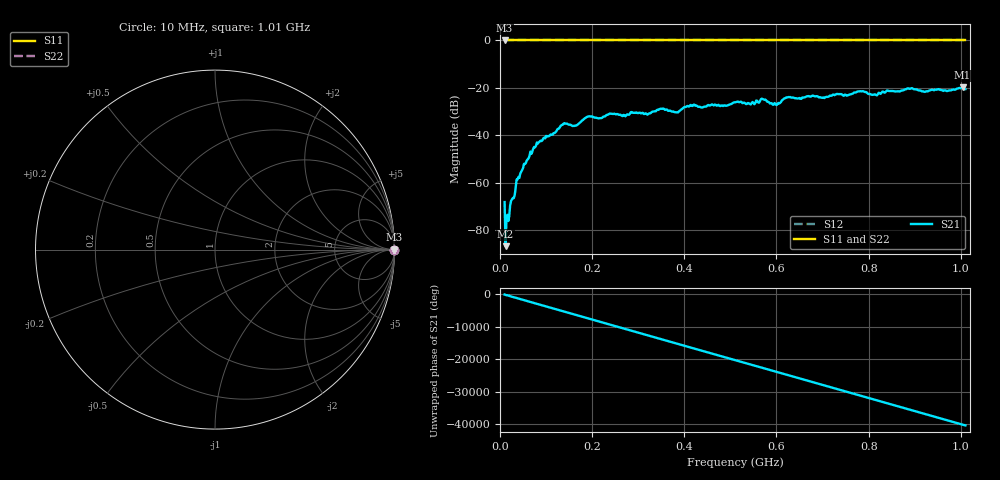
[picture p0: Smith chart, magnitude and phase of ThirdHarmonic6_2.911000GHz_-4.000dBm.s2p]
! 8/17/2025 8:04:17 AM
! C:\ANRITSUVNA\TEMP\TEMP.S2P
! CHANNEL.1
! TR.MEASUREMENT
! RAW.DATA
! RF.CORRECTION.OFF
! AVERAGING.OFF
! IF.BANDWIDTH: 5KHZ
! SWEEPTYPE:  FREQ.SWEEP(Linear)
! Reference Plane Port Info
! PORT:  PORT1  PORT2
! DISTANCE:  0  m  0  m
! TIME:  0  s  0  s
! PHASE.OFFSET:  0  deg.  0  deg.
! LOSS:  0  dB  0  dB
! REF.LOSS:  0  dB  0  dB
! REF.FREQ:  0  Hz  0  Hz
! Power Info
! POWER:  -20  dBm  -20  dBm
! EFF.POWER:  -20  dBm  -20  dBm
! SOURCE.ATTEN:  0  dB  0  dB
! TEST.ATTEN:  0  dB  0  dB
# GHZ S RI R 50.0
! FREQ.GHZ  S11RE  S11IM  S21RE  S21IM  S12RE  S12IM  S22RE  S22IM
!; PortSelection: Port_12
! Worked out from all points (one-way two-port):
!   501 points, 10 MHz to 1.01 GHz, reference 50 ohm
!   highest |S21| = -19.81 dB at 1.004 GHz (marker M1); lowest = -86.8 dB at 12 MHz (marker M2)
!   lowest |S11| = 0.0 dB at 10 MHz (marker M3)
!   |S11| at or under -10 dB: nowhere
!   |S22| runs from 0.0 to 0.0 dB; largest |S21 - S12| = 1.1
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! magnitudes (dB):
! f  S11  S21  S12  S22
! 10 MHz  0.0  -68.2  0.0  0.0
! 12 MHz  0.0  -86.8  0.0  0.0
! 16 MHz  0.0  -73.6  0.0  0.0
! 40 MHz  0.0  -57.6  0.0  0.0
! 76 MHz  0.0  -45.1  0.0  0.0
! 136 MHz  0.0  -35.6  0.0  0.0
! 162 MHz  0.0  -36.1  0.0  0.0
! 178 MHz  0.0  -33.8  0.0  0.0
! 192 MHz  0.0  -32.1  0.0  0.0
! 322 MHz  0.0  -31.0  0.0  0.0
! 344 MHz  0.0  -29.3  0.0  0.0
! 382 MHz  0.0  -30.4  0.0  0.0
! 410 MHz  0.0  -27.9  0.0  0.0
! 510 MHz  0.0  -26.1  0.0  0.0
! 570 MHz  0.0  -24.7  0.0  0.0
! 596 MHz  0.0  -26.4  0.0  0.0
! 624 MHz  0.0  -24.0  0.0  0.0
! 678 MHz  0.0  -23.3  0.0  0.0
! 814 MHz  0.0  -22.8  0.0  0.0
! 844 MHz  0.0  -21.3  0.0  0.0
! 1.004 GHz  0.0  -19.8  0.0  0.0
! 1.01 GHz  0.0  -20.5  0.0  0.0
